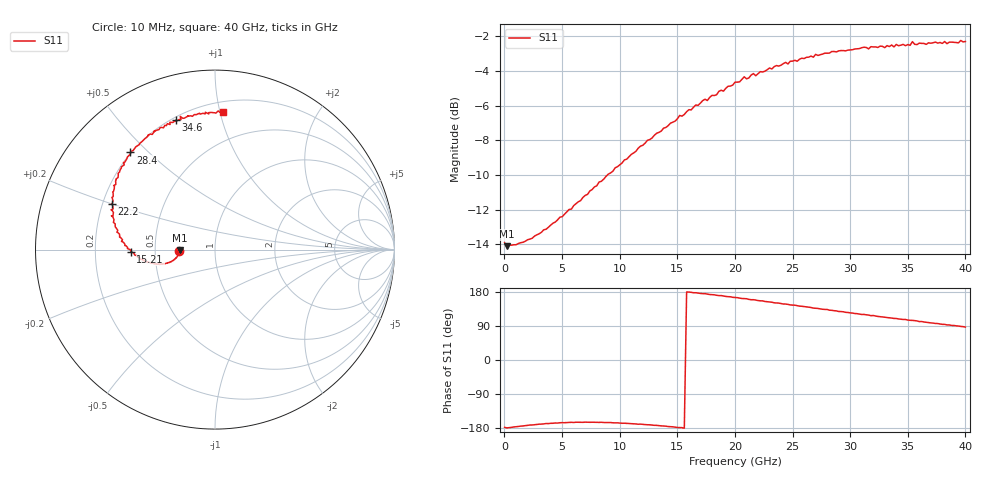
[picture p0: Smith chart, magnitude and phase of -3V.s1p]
!Agilent Technologies,N5227A,US51270434,A.10.00.00
!Agilent N5227A: A.10.00.00
!Date: Monday, January 26, 2026 17:35:08
!Correction: S11(Full 1 Port(1))
!S1P File: Measurement: S11:
# Hz S  dB  R 50
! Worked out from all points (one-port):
!   201 points, 10 MHz to 40 GHz, reference 50 ohm
!   lowest |S11| = -14.1 dB at 209.9 MHz (marker M1), VSWR 1.49, Z = 33.5 - j0.194 ohm
!   |S11| at or under -10 dB: start of sweep to 8.941 GHz
!   S11 on the Smith chart (normalised r, x): 10 MHz: 0.66, -0.01; 15.21 GHz: 0.36, -0.01; 22.2 GHz: 0.24, +0.20; 28.4 GHz: 0.20, +0.44; 34.6 GHz: 0.22, +0.72; 40 GHz: 0.27, +1.02
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1e7  -13.91 -177.7
2.0995e8  -14.11 -179.2
2.4094e9  -13.65 -171.5
5.00875e9  -12.41 -165.3
1.00075e10  -9.42 -166.3
1.260685e10  -7.96 -171.0
1.500625e10  -6.76 -178.1
1.52062e10  -6.57 -178.3
1.740565e10  -5.63 175.1
2.0005e10  -4.65 165.0
2.100475e10  -4.45 161.7
2.220445e10  -4.04 156.2
2.500375e10  -3.43 144.8
2.84029e10  -2.88 131.1
3.00025e10  -2.78 124.3
3.100225e10  -2.66 120.1
3.16021e10  -2.72 118.6
3.180205e10  -2.60 117.0
3.2002e10  -2.61 117.4
3.24019e10  -2.64 115.0
3.460135e10  -2.46 106.9
3.500125e10  -2.47 105.4
3.540115e10  -2.31 104.6
3.580105e10  -2.48 103.1
3.6001e10  -2.39 101.3
3.620095e10  -2.41 101.6
3.740065e10  -2.33 96.4
4e10  -2.29 86.9
